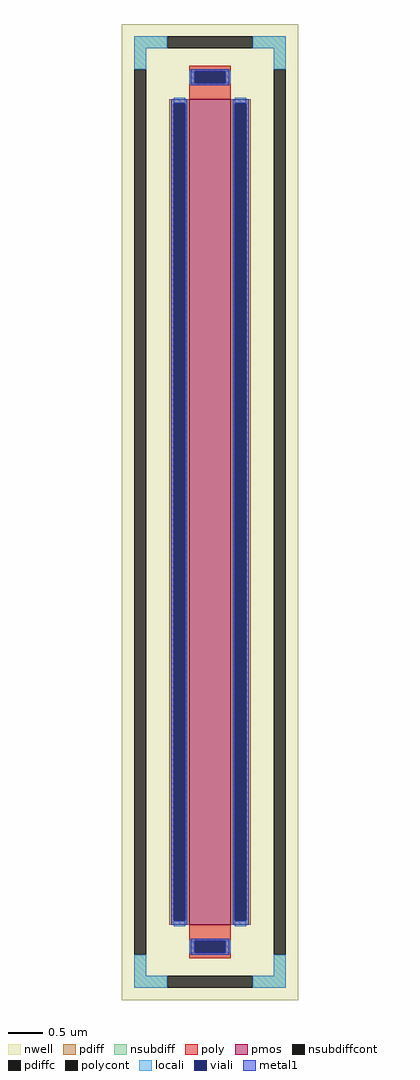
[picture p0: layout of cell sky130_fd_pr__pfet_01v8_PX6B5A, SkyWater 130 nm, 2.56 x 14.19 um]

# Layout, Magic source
magic
tech sky130A
magscale 1 2
<< nwell >>
rect -256 -1419 256 1419
<< pmos >>
rect -60 -1200 60 1200
<< pdiff >>
rect -118 1188 -60 1200
rect -118 -1188 -106 1188
rect -72 -1188 -60 1188
rect -118 -1200 -60 -1188
rect 60 1188 118 1200
rect 60 -1188 72 1188
rect 106 -1188 118 1188
rect 60 -1200 118 -1188
<< pdiffc >>
rect -106 -1188 -72 1188
rect 72 -1188 106 1188
<< nsubdiff >>
rect -220 1349 -124 1383
rect 124 1349 220 1383
rect -220 1287 -186 1349
rect 186 1287 220 1349
rect -220 -1349 -186 -1287
rect 186 -1349 220 -1287
rect -220 -1383 -124 -1349
rect 124 -1383 220 -1349
<< nsubdiffcont >>
rect -124 1349 124 1383
rect -220 -1287 -186 1287
rect 186 -1287 220 1287
rect -124 -1383 124 -1349
<< poly >>
rect -60 1281 60 1297
rect -60 1247 -44 1281
rect 44 1247 60 1281
rect -60 1200 60 1247
rect -60 -1247 60 -1200
rect -60 -1281 -44 -1247
rect 44 -1281 60 -1247
rect -60 -1297 60 -1281
<< polycont >>
rect -44 1247 44 1281
rect -44 -1281 44 -1247
<< locali >>
rect -220 1349 -124 1383
rect 124 1349 220 1383
rect -220 1287 -186 1349
rect 186 1287 220 1349
rect -60 1247 -44 1281
rect 44 1247 60 1281
rect -106 1188 -72 1204
rect -106 -1204 -72 -1188
rect 72 1188 106 1204
rect 72 -1204 106 -1188
rect -60 -1281 -44 -1247
rect 44 -1281 60 -1247
rect -220 -1349 -186 -1287
rect 186 -1349 220 -1287
rect -220 -1383 -124 -1349
rect 124 -1383 220 -1349
<< viali >>
rect -44 1247 44 1281
rect -106 -1188 -72 1188
rect 72 -1188 106 1188
rect -44 -1281 44 -1247
<< metal1 >>
rect -56 1281 56 1287
rect -56 1247 -44 1281
rect 44 1247 56 1281
rect -56 1241 56 1247
rect -112 1188 -66 1200
rect -112 -1188 -106 1188
rect -72 -1188 -66 1188
rect -112 -1200 -66 -1188
rect 66 1188 112 1200
rect 66 -1188 72 1188
rect 106 -1188 112 1188
rect 66 -1200 112 -1188
rect -56 -1247 56 -1241
rect -56 -1281 -44 -1247
rect 44 -1281 56 -1247
rect -56 -1287 56 -1281
<< properties >>
string FIXED_BBOX -203 -1366 203 1366
string gencell sky130_fd_pr__pfet_01v8
string library sky130
string parameters w 12 l 0.6 m 1 nf 1 diffcov 100 polycov 100 guard 1 glc 1 grc 1 gtc 1 gbc 1 tbcov 100 rlcov 100 topc 1 botc 1 poverlap 0 doverlap 1 lmin 0.15 wmin 0.42 compatible {sky130_fd_pr__pfet_01v8  sky130_fd_pr__pfet_01v8_lvt sky130_fd_pr__pfet_01v8_hvt  sky130_fd_pr__pfet_g5v0d10v5} full_metal 1 viasrc 100 viadrn 100 viagate 100 viagb 0 viagr 0 viagl 0 viagt 0
<< end >>
